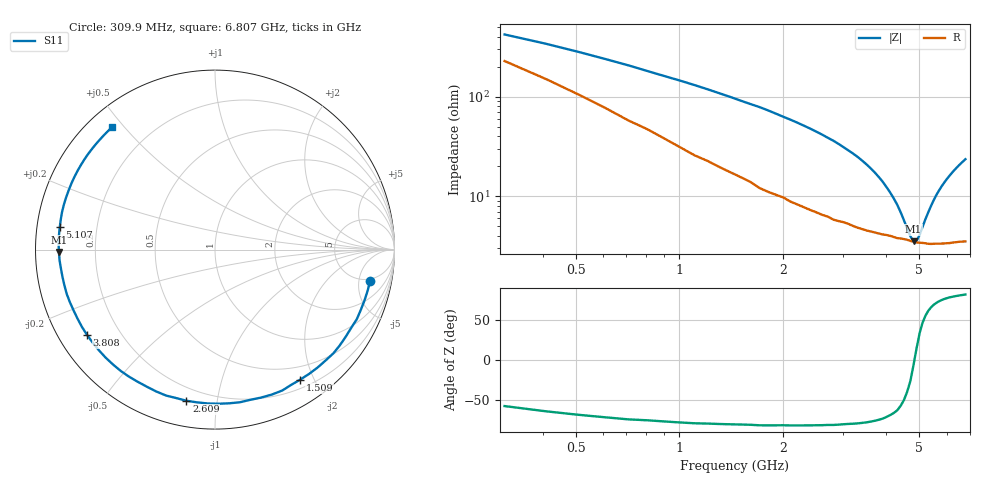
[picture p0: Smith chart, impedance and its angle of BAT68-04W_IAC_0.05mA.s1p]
! Infineon Technologies  Discrete & RF Semiconductors
! BAT68-04W
! IAC = 0.05 mA
! One-Port S-Parameters
# Hz  S  MA  R  50
!f  S11
!Hz  Mag  Ang
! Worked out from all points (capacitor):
!   66 points, 309.9 MHz to 6.807 GHz, reference 50 ohm
!   read as one part to ground: C = 1.26 pF near 309.9 MHz
!   lowest |Z| = 3.51 ohm at 4.808 GHz (marker M1)
!   series resonance near 4.837 GHz, so ESL is about 860 pH
!   S11 on the Smith chart (normalised r, x): 309.9 MHz: 4.58, -7.14; 1.509 GHz: 0.31, -1.80; 2.609 GHz: 0.13, -0.82; 3.808 GHz: 0.08, -0.30; 5.107 GHz: 0.07, +0.07; 6.807 GHz: 0.07, +0.47
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3.0985e8  0.8814 -11.4
5.0975e8  0.8797 -18.7
7.0965e8  0.88 -26.2
1.0095e9  0.8765 -37.4
1.2094e9  0.8725 -45.1
1.50925e9  0.8661 -56.9
1.70915e9  0.8699 -64.4
1.8091e9  0.8676 -68.5
2.009e9  0.8597 -76.8
2.10895e9  0.8618 -80.7
2.30885e9  0.8589 -88.8
2.6087e9  0.8569 -100.7
2.8086e9  0.8577 -108.5
3.0085e9  0.853 -116.6
3.2084e9  0.8548 -124.2
3.4083e9  0.856 -131.7
3.6082e9  0.8562 -139.1
3.8081e9  0.8568 -146.4
4.10795e9  0.8578 -156.9
4.4078e9  0.8624 -166.7
4.8076e9  0.8697 -179.1
5.10745e9  0.8739 171.8
5.2074e9  0.8755 169.0
5.4073e9  0.8786 163.4
5.6072e9  0.8797 157.8
6.007e9  0.8834 147.7
6.4068e9  0.8865 138.4
6.8066e9  0.8912 129.9
